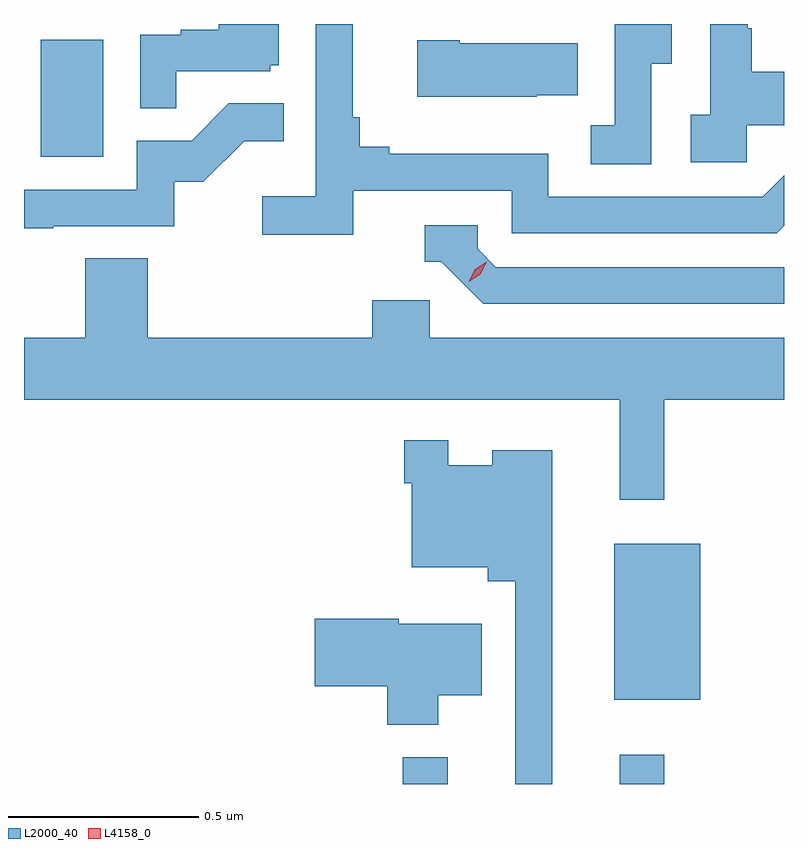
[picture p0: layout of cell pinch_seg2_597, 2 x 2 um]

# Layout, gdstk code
import gdstk
lib = gdstk.Library(unit=1e-6, precision=1e-09)
def R(c, l, rs):  # rectangles x0, y0, x1, y1
    for r in rs: c.add(gdstk.rectangle(r[:2], r[2:], *l))
def P(c, l, *ps):  # polygons
    for p in ps: c.add(gdstk.Polygon(p, *l))
L2000_40 = (2000, 40)
L4158_0 = (4158, 0)

pinch_seg2_597 = lib.new_cell('pinch_seg2_597')
R(pinch_seg2_597, L2000_40, [(1058.047,614.657,1058.165,614.728), (1058.618,614.657,1058.735,614.734), (1058.603,614.879,1058.83,615.289), (1057.094,616.308,1057.258,616.615)])
P(pinch_seg2_597, L2000_40, [(1058.952,616.391),(1059.05,616.391),(1059.05,616.531),(1058.965,616.531),(1058.965,616.646),(1058.955,616.646),(1058.955,616.657),(1058.856,616.657),(1058.856,616.418),(1058.805,616.418),(1058.805,616.293),(1058.952,616.293)],
  [(1057.916,616.218),(1058.334,616.218),(1058.334,616.107),(1059.031,616.107),(1059.05,616.126),(1059.05,616.259),(1058.994,616.203),(1058.43,616.203),(1058.43,616.315),(1058.011,616.315),(1058.011,616.334),(1057.934,616.334),(1057.934,616.411),(1057.915,616.411),(1057.915,616.657),(1057.818,616.657),(1057.818,616.204),(1057.677,616.204),(1057.677,616.102),(1057.916,616.102)],
  [(1058.7,616.552),(1058.755,616.552),(1058.755,616.657),(1058.604,616.657),(1058.604,616.391),(1058.541,616.391),(1058.541,616.288),(1058.7,616.288)],
  [(1057.451,616.533),(1057.698,616.533),(1057.698,616.548),(1057.72,616.548),(1057.72,616.657),(1057.562,616.657),(1057.562,616.642),(1057.463,616.642),(1057.463,616.629),(1057.356,616.629),(1057.356,616.435),(1057.451,616.435)],
  [(1058.399,616.469),(1058.507,616.469),(1058.507,616.606),(1058.197,616.606),(1058.197,616.614),(1058.085,616.614),(1058.085,616.466),(1058.399,616.466)],
  [(1057.127,616.125),(1057.446,616.125),(1057.446,616.242),(1057.522,616.242),(1057.629,616.349),(1057.733,616.349),(1057.733,616.448),(1057.589,616.448),(1057.491,616.35),(1057.347,616.35),(1057.347,616.221),(1057.05,616.221),(1057.05,616.12),(1057.127,616.12)],
  [(1059.05,616.017),(1058.292,616.017),(1058.244,616.065),(1058.244,616.128),(1058.105,616.128),(1058.105,616.032),(1058.148,616.032),(1058.259,615.921),(1059.05,615.921)],
  [(1058.735,615.668),(1059.05,615.668),(1059.05,615.832),(1058.118,615.832),(1058.118,615.93),(1057.967,615.93),(1057.967,615.832),(1057.376,615.832),(1057.376,616.04),(1057.211,616.04),(1057.211,615.832),(1057.05,615.832),(1057.05,615.668),(1058.618,615.668),(1058.618,615.405),(1058.735,615.405)],
  [(1058.44,615.535),(1058.282,615.535),(1058.282,615.496),(1058.166,615.496),(1058.166,615.562),(1058.05,615.562),(1058.05,615.449),(1058.07,615.449),(1058.07,615.227),(1058.27,615.227),(1058.27,615.191),(1058.343,615.191),(1058.343,614.657),(1058.44,614.657)],
  [(1058.14,614.891),(1058.254,614.891),(1058.254,615.079),(1058.036,615.079),(1058.036,615.092),(1057.815,615.092),(1057.815,614.914),(1058.006,614.914),(1058.006,614.813),(1058.14,614.813)])
P(pinch_seg2_597, L4158_0, [(1058.22,615.979),(1058.22,615.979),(1058.237,616.012),(1058.268,616.032),(1058.268,616.032),(1058.268,616.032),(1058.251,615.999),(1058.22,615.979)])

lib.write_gds('pinch_seg2_597.gds')
